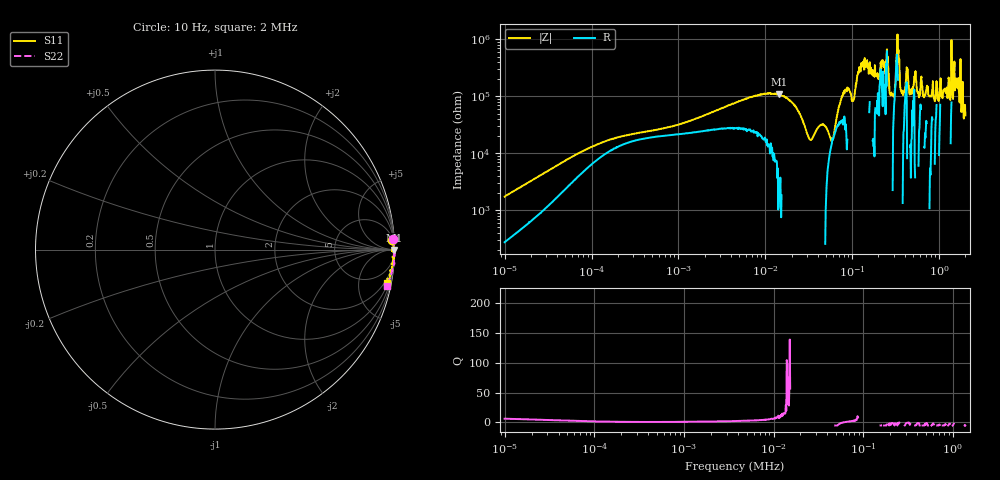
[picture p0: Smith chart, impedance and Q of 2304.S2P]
!Agilent Technologies,E5061B,MY49204007,A.02.12
!Date: Wed Jul 23 11:42:46 2025
!Data & Calibration Information:
!Freq	S11:SOLT2(ON)	S21:SOLT2(ON)	S12:SOLT2(ON)	S22:SOLT2(ON)
# Hz S dB R 50
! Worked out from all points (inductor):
!   1040 points, 10 Hz to 2 MHz, reference 50 ohm
!   read as one part in series: L = 26.6 H near 10.69 Hz
!   highest Q = 44.3 at 14.38 kHz (marker M1), where L = 1.2 H
!   self-resonance near 32.6 kHz
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10  -0.10 3.2  -24.91 -77.6  -24.91 -77.5  -0.08 3.4
77.209  -0.04 0.5  -40.64 -64.7  -40.64 -64.6  -0.02 0.7
588.818  -0.03 0.1  -48.42 -41.0  -48.44 -40.8  -0.01 0.3
4498.482  -0.01 0.0  -57.75 -68.9  -57.77 -68.4  0.01 0.2
14379.2  -0.00 -0.2  -60.68 -88.1  -60.63 -88.1  0.01 0.1
21335.1  -0.01 -0.3  -57.12 -100.8  -57.12 -99.5  0.01 0.0
34305.13  -0.11 -0.0  -45.06 156.5  -45.05 156.6  -0.01 -0.0
45278.81  -0.02 -0.2  -50.05 98.7  -50.09 98.9  0.01 -0.1
58252.28  -0.11 -0.4  -44.31 22.4  -44.34 22.8  -0.01 -0.2
79186.18  -0.02 -0.2  -61.15 -69.9  -60.95 -70.8  0.01 -0.3
102202.2  -0.01 -0.4  -58.41 -170.8  -58.13 -169.6  -0.02 -0.5
140282.4  -0.01 -0.6  -70.37 107.6  -73.20 93.8  0.00 -0.7
194767.4  -0.01 -1.0  -68.15 77.9  -67.19 78.5  -0.00 -1.0
244353.3  -0.02 -1.4  -72.68 29.1  -68.65 62.1  -0.00 -1.2
261946.5  -0.03 -1.4  -68.02 -168.7  -65.57 -163.5  -0.01 -1.2
285404.3  -0.02 -1.5  -60.64 89.5  -60.54 93.1  -0.00 -1.4
331153.5  -0.01 -1.8  -81.77 74.6  -73.98 26.8  -0.01 -1.6
379744  -0.02 -2.0  -61.11 87.4  -60.60 77.1  -0.00 -1.9
421502.1  -0.03 -2.4  -70.26 54.6  -69.19 71.1  -0.01 -2.1
846534.6  -0.10 -4.4  -65.43 95.3  -66.10 96.5  0.00 -5.1
1574823  -0.13 -8.4  -66.48 137.2  -66.26 149.9  -0.10 -9.2
2000000  -0.22 -11.1  -53.59 -126.9  -53.94 -126.3  -0.19 -11.8
